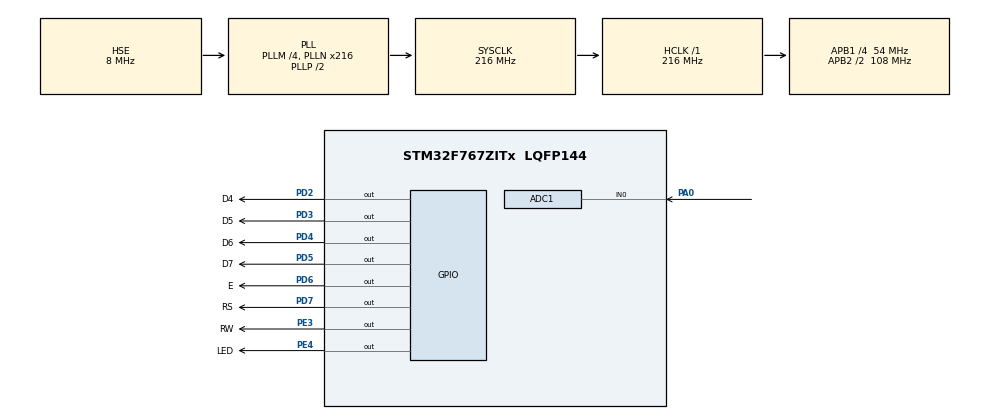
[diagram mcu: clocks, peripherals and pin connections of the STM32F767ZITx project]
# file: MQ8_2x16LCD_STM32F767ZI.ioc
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ADC1.Channel-0\#ChannelRegularConversion=ADC_CHANNEL_0
ADC1.NbrOfConversionFlag=1
ADC1.Rank-0\#ChannelRegularConversion=1
ADC1.SamplingTime-0\#ChannelRegularConversion=ADC_SAMPLETIME_3CYCLES
ADC1.ScanConvMode=ADC_SCAN_ENABLE
ADC1.master=1
CORTEX_M7.default_mode_Activation=1
Mcu.Family=STM32F7
Mcu.Name=STM32F767ZITx
Mcu.Package=LQFP144
NVIC.PriorityGroup=NVIC_PRIORITYGROUP_4
PA0/WKUP.Signal=ADCx_IN0
PA13.Mode=Trace_Asynchronous_SW
PA13.Signal=SYS_JTMS-SWDIO
PA14.Mode=Trace_Asynchronous_SW
PA14.Signal=SYS_JTCK-SWCLK
PB3.Mode=Trace_Asynchronous_SW
PB3.Signal=SYS_JTDO-SWO
PD2.GPIO_Label=D4
PD2.Signal=GPIO_Output
PD3.GPIO_Label=D5
PD3.Signal=GPIO_Output
PD4.GPIO_Label=D6
PD4.Signal=GPIO_Output
PD5.GPIO_Label=D7
PD5.Signal=GPIO_Output
PD6.GPIO_Label=E
PD6.Signal=GPIO_Output
PD7.GPIO_Label=RS
PD7.Signal=GPIO_Output
PE3.GPIO_Label=RW
PE3.Signal=GPIO_Output
PE4.GPIO_Label=LED
PE4.Signal=GPIO_Output
PH0/OSC_IN.Mode=HSE-External-Oscillator
PH0/OSC_IN.Signal=RCC_OSC_IN
PH1/OSC_OUT.Mode=HSE-External-Oscillator
PH1/OSC_OUT.Signal=RCC_OSC_OUT
ProjectManager.HeapSize=0x200
ProjectManager.StackSize=0x400
ProjectManager.TargetToolchain=STM32CubeIDE
RCC.AHBFreq_Value=216000000
RCC.APB1CLKDivider=RCC_HCLK_DIV4
RCC.APB1Freq_Value=54000000
RCC.APB1TimFreq_Value=108000000
RCC.APB2CLKDivider=RCC_HCLK_DIV2
RCC.APB2Freq_Value=108000000
RCC.APB2TimFreq_Value=216000000
RCC.CortexFreq_Value=216000000
RCC.HCLKFreq_Value=216000000
RCC.HSE_VALUE=8000000
RCC.HSI_VALUE=16000000
RCC.LSE_VALUE=32768
RCC.PLLM=4
RCC.PLLN=216
RCC.PLLSourceVirtual=RCC_PLLSOURCE_HSE
RCC.SYSCLKFreq_VALUE=216000000
RCC.SYSCLKSource=RCC_SYSCLKSOURCE_PLLCLK
RCC.USBFreq_Value=216000000
RCC.VCOOutputFreq_Value=432000000
SH.ADCx_IN0.0=ADC1_IN0,IN0
TIM1.Prescaler=216
TIM2.Period=215999
TIM2.Prescaler=65535
VP_TIM1_VS_ClockSourceINT.Mode=Internal
VP_TIM2_VS_ClockSourceINT.Mode=Internal
board=custom

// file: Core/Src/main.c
/* USER CODE BEGIN Header */
/**
  ******************************************************************************
  * @file           : main.c
  * @brief          : Main program body
  ******************************************************************************
  * @attention
  *
  * Copyright (c) 2023 STMicroelectronics.
  * All rights reserved.
  *
  * This software is licensed under terms that can be found in the LICENSE file
  * in the root directory of this software component.
  * If no LICENSE file comes with this software, it is provided AS-IS.
  *
  ******************************************************************************
  */
/* USER CODE END Header */
#include "main.h"
#include "adc.h"
#include "tim.h"
#include "gpio.h"

/* USER CODE BEGIN Includes */
#include <math.h>
#include "LCD_LIB.h"
/* USER CODE END Includes */

/* USER CODE BEGIN PTD */
#define         GAS_H2                      (0)

#define         RL_VALUE                     (10)
#define         RO_CLEAN_AIR_FACTOR          (9.21)

#define         CALIBARAION_SAMPLE_TIMES     (50)
#define         CALIBRATION_SAMPLE_INTERVAL  (500)

#define         READ_SAMPLE_INTERVAL         (50)
#define         READ_SAMPLE_TIMES            (5)
/* USER CODE END PTD */

/* USER CODE BEGIN PV */
float           H2Curve[3]  =  {2.3, 0.93,-1.44};
float           Ro          =  10;
int				ppm			=  0;
/* USER CODE END PV */

void SystemClock_Config(void);
static void MPU_Config(void);

/* USER CODE BEGIN 0 */

//***********************SENSOR-START***********************//
//********************calibration-start********************//
float MQResistanceCalculation(int raw_adc)
{
  return ( ((float)10*(1023-raw_adc)/raw_adc));
}

float MQCalibration()
{
  int i;
  float val=0;

  for (i=0;i<50;i++) {            //take multiple samples
	  HAL_ADC_Start(&hadc1);
	  	  HAL_ADC_PollForConversion(&hadc1, 1);
    val += MQResistanceCalculation(HAL_ADC_GetValue(&hadc1));
    HAL_Delay(500);
  }
  val = val/50;                   //calculate the average value

  val = val/9.21;                        //divided by RO_CLEAN_AIR_FACTOR yields the Ro
                                                        //according to the chart in the datasheet
  return val;
}

//********************calibration-end********************//

//********************getH2Value-start********************//
float MQRead()
{
  int i;
  float rs=0;

  for (i=0;i<5;i++) {
	  HAL_ADC_Start(&hadc1);
	  HAL_ADC_PollForConversion(&hadc1, 1);
    rs += MQResistanceCalculation(HAL_ADC_GetValue(&hadc1));
    HAL_Delay(50);
  }

  rs = rs/5;

  return rs;
}

int MQGet(float rs_ro_ratio, float *pcurve)
{
	if (1) {
		int out = (pow(10,( ((log(rs_ro_ratio)-pcurve[1])/pcurve[2]) + pcurve[0])));
	  return out;
	}
	return 0;
}

int MQGetGasPercentage(float rs_ro_ratio, int gas_id)
{
  if ( gas_id == GAS_H2) {
     return MQGet(rs_ro_ratio,H2Curve);
  }
  return 0;
}

//********************getH2Value-end********************//
//***********************SENSOR-END**********************//

//***********************Delay-START*********************//
void ms_delay(uint32_t ms){
	HAL_TIM_Base_Start(&htim2);
	htim2.Instance->CNT=0;
	while(htim2.Instance->CNT < ms);

}

void s_delay(uint32_t s){
	for (int var = 0;  var < s; var++) {
		ms_delay(1000);
	}
}

void min_delay(uint32_t min){
	for (int var = 0;  var < min; var++) {
		s_delay(60);
	}
}
//***********************Delay-END***********************//

/* USER CODE END 0 */

int main(void)
{

  /* MPU Configuration--------------------------------------------------------*/
  MPU_Config();

  /* MCU Configuration--------------------------------------------------------*/

  /* Reset of all peripherals, Initializes the Flash interface and the Systick. */
  HAL_Init();

  /* Configure the system clock */
  SystemClock_Config();

  /* Initialize all configured peripherals */
  MX_GPIO_Init();
  MX_ADC1_Init();
  MX_TIM1_Init();
  MX_TIM2_Init();
  /* USER CODE BEGIN 2 */
  LCD_init();
  LCD_cls();
  HAL_GPIO_WritePin(GPIOA, LED_Pin, GPIO_PIN_SET);
  //min_delay(2);
  HAL_GPIO_WritePin(GPIOA, LED_Pin, GPIO_PIN_RESET);
  s_delay(2);
  HAL_GPIO_WritePin(GPIOA, LED_Pin, GPIO_PIN_SET);
  Ro = MQCalibration();

  /* USER CODE END 2 */

  /* Infinite loop */
  while (1)
  {

    /* USER CODE BEGIN 3 */
		ppm = MQGetGasPercentage(MQRead()/Ro,GAS_H2);
		HAL_Delay(200);
		HAL_GPIO_TogglePin(GPIOA, LED_Pin);
	    LCD_cur(0,0);
	    char str[16];
	    //sprintf(str, "PPM: %d", ppm);
	    LCD_cls();
	    LCD_send_string(str);
  }
  /* USER CODE END 3 */
}

void SystemClock_Config(void)
{
  RCC_OscInitTypeDef RCC_OscInitStruct = {0};
  RCC_ClkInitTypeDef RCC_ClkInitStruct = {0};

  /** Configure the main internal regulator output voltage
  */
  __HAL_RCC_PWR_CLK_ENABLE();
  __HAL_PWR_VOLTAGESCALING_CONFIG(PWR_REGULATOR_VOLTAGE_SCALE1);

  /** Initializes the RCC Oscillators according to the specified parameters
  * in the RCC_OscInitTypeDef structure.
  */
  RCC_OscInitStruct.OscillatorType = RCC_OSCILLATORTYPE_HSE;
  RCC_OscInitStruct.HSEState = RCC_HSE_ON;
  RCC_OscInitStruct.PLL.PLLState = RCC_PLL_ON;
  RCC_OscInitStruct.PLL.PLLSource = RCC_PLLSOURCE_HSE;
  RCC_OscInitStruct.PLL.PLLM = 4;
  RCC_OscInitStruct.PLL.PLLN = 216;
  RCC_OscInitStruct.PLL.PLLP = RCC_PLLP_DIV2;
  RCC_OscInitStruct.PLL.PLLQ = 2;
  RCC_OscInitStruct.PLL.PLLR = 2;
  if (HAL_RCC_OscConfig(&RCC_OscInitStruct) != HAL_OK)
  {
    Error_Handler();
  }

  /** Activate the Over-Drive mode
  */
  if (HAL_PWREx_EnableOverDrive() != HAL_OK)
  {
    Error_Handler();
  }

  /** Initializes the CPU, AHB and APB buses clocks
  */
  RCC_ClkInitStruct.ClockType = RCC_CLOCKTYPE_HCLK|RCC_CLOCKTYPE_SYSCLK
                              |RCC_CLOCKTYPE_PCLK1|RCC_CLOCKTYPE_PCLK2;
  RCC_ClkInitStruct.SYSCLKSource = RCC_SYSCLKSOURCE_PLLCLK;
  RCC_ClkInitStruct.AHBCLKDivider = RCC_SYSCLK_DIV1;
  RCC_ClkInitStruct.APB1CLKDivider = RCC_HCLK_DIV4;
  RCC_ClkInitStruct.APB2CLKDivider = RCC_HCLK_DIV2;

  if (HAL_RCC_ClockConfig(&RCC_ClkInitStruct, FLASH_LATENCY_7) != HAL_OK)
  {
    Error_Handler();
  }
}

/* MPU Configuration */

void MPU_Config(void)
{
  MPU_Region_InitTypeDef MPU_InitStruct = {0};

  /* Disables the MPU */
  HAL_MPU_Disable();

  /** Initializes and configures the Region and the memory to be protected
  */
  MPU_InitStruct.Enable = MPU_REGION_ENABLE;
  MPU_InitStruct.Number = MPU_REGION_NUMBER0;
  MPU_InitStruct.BaseAddress = 0x0;
  MPU_InitStruct.Size = MPU_REGION_SIZE_4GB;
  MPU_InitStruct.SubRegionDisable = 0x87;
  MPU_InitStruct.TypeExtField = MPU_TEX_LEVEL0;
  MPU_InitStruct.AccessPermission = MPU_REGION_NO_ACCESS;
  MPU_InitStruct.DisableExec = MPU_INSTRUCTION_ACCESS_DISABLE;
  MPU_InitStruct.IsShareable = MPU_ACCESS_SHAREABLE;
  MPU_InitStruct.IsCacheable = MPU_ACCESS_NOT_CACHEABLE;
  MPU_InitStruct.IsBufferable = MPU_ACCESS_NOT_BUFFERABLE;

  HAL_MPU_ConfigRegion(&MPU_InitStruct);
  /* Enables the MPU */
  HAL_MPU_Enable(MPU_PRIVILEGED_DEFAULT);

}

void Error_Handler(void)
{
  __disable_irq();
  while (1)
  {
  }
}
